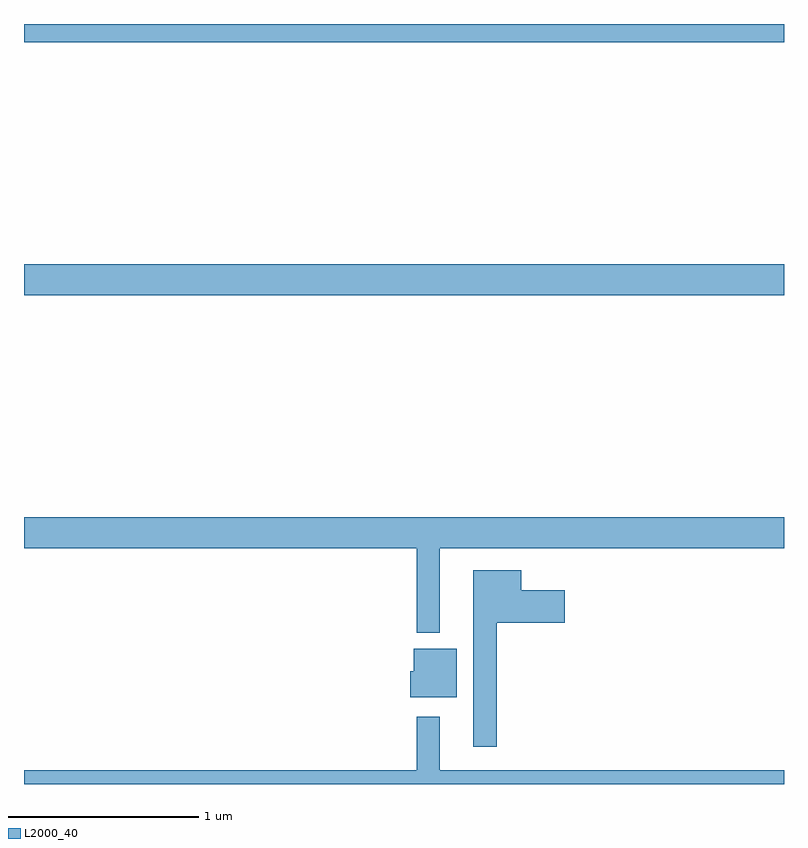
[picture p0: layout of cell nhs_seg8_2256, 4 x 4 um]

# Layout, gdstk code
import gdstk
lib = gdstk.Library(unit=1e-6, precision=1e-09)
def R(c, l, rs):  # rectangles x0, y0, x1, y1
    for r in rs: c.add(gdstk.rectangle(r[:2], r[2:], *l))
def P(c, l, *ps):  # polygons
    for p in ps: c.add(gdstk.Polygon(p, *l))
L2000_40 = (2000, 40)

nhs_seg8_2256 = lib.new_cell('nhs_seg8_2256')
R(nhs_seg8_2256, L2000_40, [(253,1144.472,257,1144.636), (253,1145.804,257,1145.9)])
P(nhs_seg8_2256, L2000_40, [(255.187,1143.14),(257,1143.14),(257,1143.304),(253,1143.304),(253,1143.14),(255.066,1143.14),(255.066,1142.696),(255.187,1142.696)],
  [(255.487,1142.75),(255.847,1142.75),(255.847,1142.92),(255.616,1142.92),(255.616,1143.025),(255.365,1143.025),(255.365,1142.097),(255.487,1142.097)],
  [(255.277,1142.611),(255.05,1142.611),(255.05,1142.493),(255.032,1142.493),(255.032,1142.357),(255.277,1142.357)],
  [(257,1141.972),(255.187,1141.972),(255.187,1142.254),(255.066,1142.254),(255.066,1141.972),(253,1141.972),(253,1141.9),(257,1141.9)])

lib.write_gds('nhs_seg8_2256.gds')
